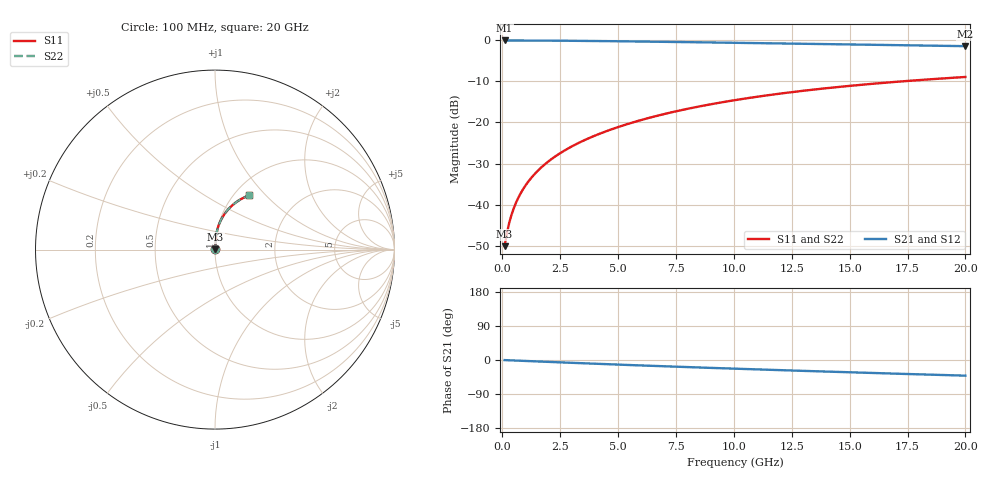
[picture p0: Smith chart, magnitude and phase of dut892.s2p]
! Touchstone file exported from HFSS 2024.1.0
!  File:  C:/UserFiles/LocalFiles/RDL_TSV_Batchsim/temp_RDL_bottom_892_1779865959.aedt
!  Generated:  03:15:22 PM May 27, 2026
!  Design:  RDL_bottom
!  Project:  temp_RDL_bottom_892_1779865959
!  Setup:  Setup1
!  Solution:  Sweep
! Variables:
!  dtsv = 10.80580581um
!  hbump = 3um
!  htsv = 96.97um
!  ldown = 578.42um
!  lrdl = 100um
!  p = 40
!  p1 = 54.1um
!  rhole = 1um
!  t = 450um
!  tdown = 3.63um
!  trdl = 3.915915916um
!  wdown = 24.77um
!  wrdl = 20um
# GHz S MA R 50.000000
! Terminal data exported
! Port[1] = RDL1_T1
! Port[2] = RDL1_T2
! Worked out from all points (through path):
!   200 points, 100 MHz to 20 GHz, reference 50 ohm
!   highest |S21| = -0.02 dB at 100 MHz (marker M1); lowest = -1.4 dB at 20 GHz (marker M2)
!   group delay of S21, straight-line fit = 5.68 ps
!   lowest |S11| = -50.1 dB at 100 MHz (marker M3), VSWR 1.01, Z = 50.3 + j0.187 ohm
!   |S11| at or under -10 dB: start of sweep to 17.22 GHz
!   |S22| runs from -50.1 to -8.9 dB; largest |S21 - S12| = 5.1e-15
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0.1  0.003118 36.7  0.9975 -0.3  0.9975 -0.3  0.003118 36.7
! Gamma 0 0 0 0
! Port Impedance 50 0 50 0
0.2  0.004496 53.9  0.9973 -0.5  0.9973 -0.5  0.004496 53.9
0.3  0.006008 62.4  0.9971 -0.8  0.9971 -0.8  0.006008 62.4
0.4  0.007544 67.4  0.9969 -1.0  0.9969 -1.0  0.007544 67.4
0.5  0.009094 70.9  0.9968 -1.3  0.9968 -1.3  0.009094 70.9
0.6  0.01066 73.5  0.9966 -1.5  0.9966 -1.5  0.01066 73.5
0.8  0.01384 77.0  0.9962 -2.0  0.9962 -2.0  0.01384 77.0
1.1  0.01869 80.2  0.9956 -2.8  0.9956 -2.8  0.01869 80.2
1.3  0.02198 81.5  0.9951 -3.3  0.9951 -3.3  0.02198 81.5
1.6  0.02697 82.9  0.9943 -4.0  0.9943 -4.0  0.02697 82.9
2.1  0.03542 84.3  0.9925 -5.3  0.9925 -5.3  0.03542 84.3
2.7  0.0458 85.2  0.9898 -6.7  0.9898 -6.7  0.0458 85.2
3.5  0.06005 85.5  0.9855 -8.7  0.9855 -8.7  0.06005 85.5
4.2  0.07288 85.3  0.981 -10.3  0.981 -10.3  0.07288 85.3
5  0.08794 84.8  0.9755 -12.2  0.9755 -12.2  0.08794 84.8
6.8  0.1229 82.6  0.9615 -16.2  0.9615 -16.2  0.1229 82.6
8.4  0.1547 79.9  0.9483 -19.6  0.9483 -19.6  0.1547 79.9
10.1  0.1882 76.7  0.9339 -23.0  0.9339 -23.0  0.1882 76.8
11.7  0.2191 73.6  0.9203 -26.2  0.9203 -26.2  0.2191 73.6
13.4  0.2507 70.2  0.9058 -29.5  0.9058 -29.5  0.2507 70.2
16.7  0.3078 63.8  0.8777 -35.5  0.8777 -35.5  0.3078 63.8
20  0.3583 57.7  0.85 -41.3  0.85 -41.3  0.3583 57.7
